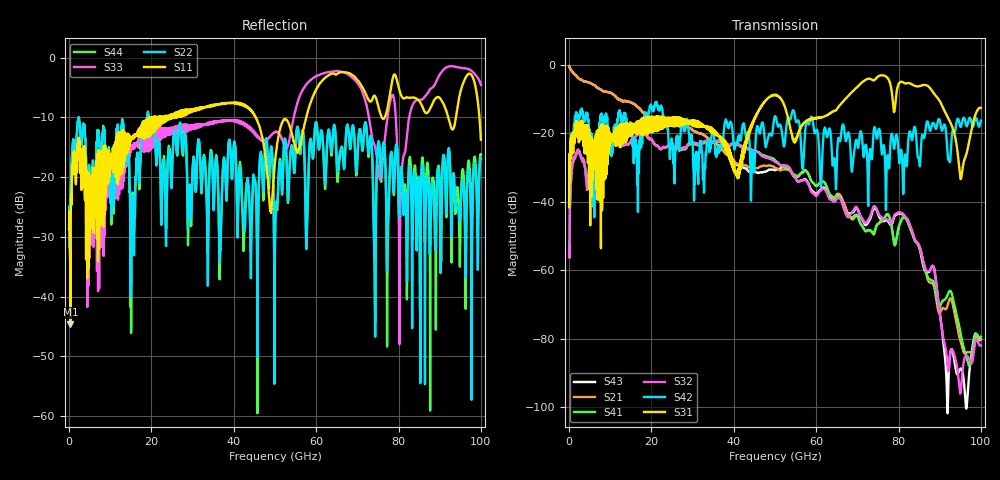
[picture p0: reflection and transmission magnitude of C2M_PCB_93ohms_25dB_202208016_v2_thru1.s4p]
! Info: Touchstone file created by Circ.  Input file=Intel_C2M_200G_10p5in_202208016_staggered.circ
# Hz S RI R 50
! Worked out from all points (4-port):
!   10000 points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, 10 MHz to 100 GHz, reference 50 ohm
!   strongest paths, dB at 10 MHz, 25.01 GHz, 50.01 GHz, 75.01 GHz, 100 GHz:
!     S31: -41.5, -16.9, -8.6, -3.4, -12.5
!     S42: -41.5, -23.8, -14.9, -19.7, -16.3
!     S32: -55.7, -23.7, -28.3, -43.0, -82.0
!     S41: -55.7, -23.9, -27.9, -46.4, -79.4
!     S21: -0.3, -16.8, -30.1, -46.4, -80.2
!     S43: -0.3, -16.7, -30.8, -43.5, -80.2
!   lowest |S11| = -44.6 dB at 320 MHz (marker M1), VSWR 1.01, Z = 49.7 + j0.514 ohm
!   |S11| at or under -10 dB: start of sweep to 19.62 GHz; 45.28 GHz to 57.61 GHz (12.33 GHz wide, 24 % of centre); 92.07 GHz to 93.94 GHz (1.873 GHz wide, 2.01 % of centre)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
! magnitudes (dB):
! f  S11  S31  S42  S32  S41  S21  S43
! 10 MHz  -28.7  -41.5  -41.5  -55.7  -55.7  -0.3  -0.3
! 320 MHz  -44.6  -22.3  -21.6  -37.6  -37.7  -1.2  -1.1
! 40.89 GHz  -7.6  -33.0  -22.6  -22.9  -23.3  -28.9  -29.3
! 48.95 GHz  -25.7  -9.1  -20.2  -27.6  -27.1  -29.5  -30.6
! 80.89 GHz  -6.6  -4.9  -27.6  -43.3  -45.0  -44.7  -43.6
! 95.17 GHz  -5.4  -33.3  -18.0  -94.8  -79.0  -81.2  -88.7
! 100 GHz  -13.7  -12.5  -16.3  -82.0  -79.4  -80.2  -80.2
